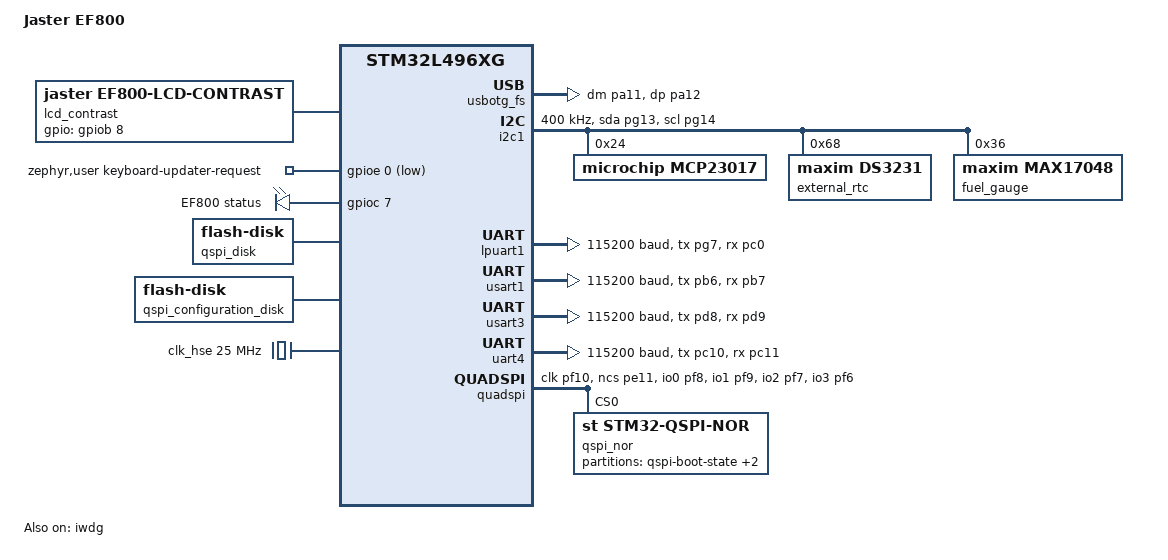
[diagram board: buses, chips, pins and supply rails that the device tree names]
/* SPDX-License-Identifier: Apache-2.0 */

/dts-v1/;
#include <st/l4/stm32l496Xg.dtsi>
#include <zephyr/dt-bindings/pinctrl/stm32-pinctrl.h>
#include <zephyr/dt-bindings/gpio/gpio.h>

/ {
	model = "Jaster EF800";
	compatible = "jaster,ef800";

	/*
	 * PB8/TIM4_CH3 is wired to the contrast filter only on modified units.
	 * The application applies this pinctrl state only for LCDCONTR1; JP15
	 * remains open and the flying wire is attached on the MCU-side pad.
	 */
	lcd_contrast: lcd-contrast {
		compatible = "jaster,ef800-lcd-contrast";
		gpios = <&gpiob 8 GPIO_ACTIVE_HIGH>;
		pinctrl-0 = <&tim4_ch3_pb8>;
		pinctrl-names = "default";
	};

	chosen {
		zephyr,console = &uart4;
		zephyr,shell-uart = &uart4;
		zephyr,sram = &sram0;
		zephyr,flash = &flash0;
	};

	aliases {
		watchdog0 = &iwdg;
	};

	zephyr,user {
		/* JP7 links this active-low request to keyboard PB12. */
		keyboard-updater-request-gpios = <&gpioe 0 GPIO_ACTIVE_LOW>;
	};

	leds {
		compatible = "gpio-leds";

		status_led: status_led {
			gpios = <&gpioc 7 GPIO_ACTIVE_HIGH>;
			label = "EF800 status";
		};
	};

	/* IS25LP032D-JTLE-TR: 32 Mbit / 4 MiB at 3.3 V. */
	qspi_disk: qspi_disk {
		compatible = "zephyr,flash-disk";
		partition = <&qspi_storage_partition>;
		disk-name = "DATA";
		sector-size = <512>;
		cache-size = <4096>;
		status = "okay";
	};

	qspi_configuration_disk: qspi_configuration_disk {
		compatible = "zephyr,flash-disk";
		partition = <&qspi_configuration_partition>;
		disk-name = "EF800";
		sector-size = <512>;
		cache-size = <4096>;
		status = "okay";
	};

};

/* STM32L496 FMC is not declared by the upstream L4 SoC DTSI. */

/ {
	fmc: memory-controller@a0000000 {
		compatible = "st,stm32-fmc";
		reg = <0xa0000000 0x400>;
		clocks = <&rcc STM32_CLOCK(AHB3, 0)>;
		status = "disabled";

		fmc_sram: sram {
			compatible = "st,stm32-fmc-nor-psram";
			#address-cells = <1>;
			#size-cells = <0>;
			status = "disabled";

			sram_bank1: sram@0 {
				reg = <0>;
				status = "disabled";
			};
		};
	};
};

&usbotg_fs {
		pinctrl-0 = <&usb_otg_fs_dm_pa11 &usb_otg_fs_dp_pa12>;
		pinctrl-names = "default";
		status = "okay";
};

&clk_hse {
		clock-frequency = <DT_FREQ_M(25)>;
		status = "okay";
};

&clk_hsi48 {
		status = "okay";
};

&clk_hsi {
		status = "okay";
};

&pll {
		div-m = <5>;
		mul-n = <32>;
		div-p = <2>;
		div-q = <2>;
		div-r = <2>;
		clocks = <&clk_hse>;
		status = "okay";
};

&rcc {
		clocks = <&pll>;
		clock-frequency = <DT_FREQ_M(80)>;
		ahb-prescaler = <1>;
		apb1-prescaler = <1>;
		apb2-prescaler = <1>;
};

&iwdg {
		status = "okay";
};

&i2c1 {
		pinctrl-0 = <&i2c1_sda_pg13 &i2c1_scl_pg14>;
		pinctrl-names = "default";
		clock-frequency = <I2C_BITRATE_FAST>;
		status = "okay";

		mcp23017: gpio@24 {
			compatible = "microchip,mcp23017";
			reg = <0x24>;
			gpio-controller;
			#gpio-cells = <2>;
			ngpios = <16>;
			status = "okay";
		};

		external_rtc: rtc@68 {
			compatible = "maxim,ds3231";
			reg = <0x68>;
			status = "okay";
		};

		fuel_gauge: fuel-gauge@36 {
			compatible = "maxim,max17048";
			reg = <0x36>;
			status = "okay";
		};
};

&pinctrl {
	tim4_ch3_pb8: tim4_ch3_pb8 {
		pinmux = <STM32_PINMUX('B', 8, AF2)>;
		bias-disable;
		drive-push-pull;
	};

	i2c1_sda_pg13: i2c1_sda_pg13 {
		pinmux = <STM32_PINMUX('G', 13, AF4)>;
		bias-pull-up;
		drive-open-drain;
		slew-rate = "high-speed";
	};

	i2c1_scl_pg14: i2c1_scl_pg14 {
		pinmux = <STM32_PINMUX('G', 14, AF4)>;
		bias-pull-up;
		drive-open-drain;
		slew-rate = "high-speed";
	};

	uart4_tx_pc10: uart4_tx_pc10 {
		pinmux = <STM32_PINMUX('C', 10, AF8)>;
		bias-pull-up;
		drive-push-pull;
	};

	uart4_rx_pc11: uart4_rx_pc11 {
		pinmux = <STM32_PINMUX('C', 11, AF8)>;
		bias-pull-up;
	};
};

&lpuart1 {
		pinctrl-0 = <&lpuart1_tx_pg7 &lpuart1_rx_pc0>;
		pinctrl-names = "default";
		tx-rx-swap;
		current-speed = <115200>;
		status = "okay";
};

&usart1 {
		pinctrl-0 = <&usart1_tx_pb6 &usart1_rx_pb7>;
		pinctrl-names = "default";
		current-speed = <115200>;
		status = "okay";
};

&usart3 {
		pinctrl-0 = <&usart3_tx_pd8 &usart3_rx_pd9>;
		pinctrl-names = "default";
		current-speed = <115200>;
		status = "okay";
};

/* UART4 is the normal EF800 development console and Port 1 serial connection. */
&uart4 {
	pinctrl-0 = <&uart4_tx_pc10 &uart4_rx_pc11>;
	pinctrl-names = "default";
	current-speed = <115200>;
	status = "okay";
};

&quadspi {
		/* These symbols are provided by the STM32L4 pinctrl include when available. */
		pinctrl-0 = <&quadspi_clk_pf10 &quadspi_bk1_ncs_pe11
				 &quadspi_bk1_io0_pf8 &quadspi_bk1_io1_pf9
				 &quadspi_bk1_io2_pf7 &quadspi_bk1_io3_pf6>;
		pinctrl-names = "default";
		ssht-enable;
		status = "okay";

		qspi_nor: qspi-nor-flash@0 {
			compatible = "st,stm32-qspi-nor";
			reg = <0>;
			size = <DT_SIZE_M(32)>;
			qspi-max-frequency = <8000000>;
			cs-high-time = <2>;
			reset-cmd;
			reset-cmd-wait = <10>;
			spi-bus-width = <4>;
			writeoc = "PP_1_1_4";
			status = "okay";

			partitions {
				compatible = "fixed-partitions";
				#address-cells = <1>;
				#size-cells = <1>;

				/* Keep the existing metadata_partition label for the shared
				 * NVS adapter; it now points at external QSPI boot-state NVS. */
				metadata_partition: qspi_bootstate_partition: partition@0 {
					label = "qspi-boot-state";
					reg = <0x00000000 0x00008000>;
				};

				qspi_configuration_partition: partition@8000 {
					label = "qspi-configuration";
					reg = <0x00008000 0x000F8000>;
				};

				/* Keep the existing disk label for consumers; it now denotes
				 * only the independently owned shared-data volume. */
				qspi_storage_partition: partition@100000 {
					label = "qspi-shared-data";
					reg = <0x00100000 0x00300000>;
				};
			};
		};
};

&flash0 {
		partitions {
			compatible = "fixed-partitions";
			#address-cells = <1>;
			#size-cells = <1>;

			boot_partition: partition@0 {
				label = "bootloader";
				reg = <0x00000000 0x00010000>;
			};

			backup_partition: partition@10000 {
				label = "backup";
				reg = <0x00010000 0x00020000>;
			};

			main_partition: partition@30000 {
				label = "main";
				reg = <0x00030000 0x000d0000>;
			};
		};
};
